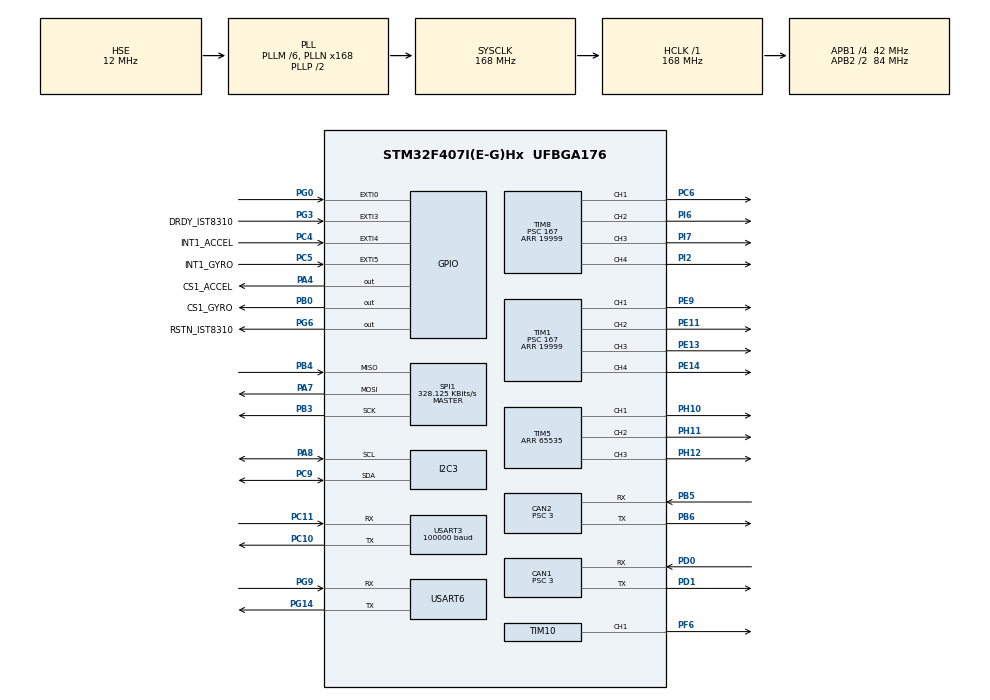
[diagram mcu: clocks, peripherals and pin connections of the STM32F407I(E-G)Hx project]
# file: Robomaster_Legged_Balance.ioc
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CAN1.BS1=CAN_BS1_10TQ
CAN1.BS2=CAN_BS2_3TQ
CAN1.CalculateBaudRate=1000000
CAN1.CalculateTimeBit=1000
CAN1.CalculateTimeQuantum=71.42857142857143
CAN1.Mode=CAN_MODE_NORMAL
CAN1.Prescaler=3
CAN1.RFLM=DISABLE
CAN2.BS1=CAN_BS1_10TQ
CAN2.BS2=CAN_BS2_3TQ
CAN2.CalculateBaudRate=1000000
CAN2.CalculateTimeBit=1000
CAN2.CalculateTimeQuantum=71.42857142857143
CAN2.Prescaler=3
Dma.Request0=USART3_RX
Dma.Request1=SPI1_RX
Dma.Request2=SPI1_TX
Dma.SPI1_RX.1.Direction=DMA_PERIPH_TO_MEMORY
Dma.SPI1_RX.1.FIFOMode=DMA_FIFOMODE_DISABLE
Dma.SPI1_RX.1.Instance=DMA2_Stream2
Dma.SPI1_RX.1.MemDataAlignment=DMA_MDATAALIGN_BYTE
Dma.SPI1_RX.1.MemInc=DMA_MINC_ENABLE
Dma.SPI1_RX.1.Mode=DMA_NORMAL
Dma.SPI1_RX.1.PeriphDataAlignment=DMA_PDATAALIGN_BYTE
Dma.SPI1_RX.1.PeriphInc=DMA_PINC_DISABLE
Dma.SPI1_RX.1.Priority=DMA_PRIORITY_VERY_HIGH
Dma.SPI1_TX.2.Direction=DMA_MEMORY_TO_PERIPH
Dma.SPI1_TX.2.FIFOMode=DMA_FIFOMODE_DISABLE
Dma.SPI1_TX.2.Instance=DMA2_Stream3
Dma.SPI1_TX.2.MemDataAlignment=DMA_MDATAALIGN_BYTE
Dma.SPI1_TX.2.MemInc=DMA_MINC_ENABLE
Dma.SPI1_TX.2.Mode=DMA_NORMAL
Dma.SPI1_TX.2.PeriphDataAlignment=DMA_PDATAALIGN_BYTE
Dma.SPI1_TX.2.PeriphInc=DMA_PINC_DISABLE
Dma.SPI1_TX.2.Priority=DMA_PRIORITY_HIGH
Dma.USART3_RX.0.Direction=DMA_PERIPH_TO_MEMORY
Dma.USART3_RX.0.FIFOMode=DMA_FIFOMODE_DISABLE
Dma.USART3_RX.0.Instance=DMA1_Stream1
Dma.USART3_RX.0.MemDataAlignment=DMA_MDATAALIGN_BYTE
Dma.USART3_RX.0.MemInc=DMA_MINC_ENABLE
Dma.USART3_RX.0.Mode=DMA_CIRCULAR
Dma.USART3_RX.0.PeriphDataAlignment=DMA_PDATAALIGN_BYTE
Dma.USART3_RX.0.PeriphInc=DMA_PINC_DISABLE
Dma.USART3_RX.0.Priority=DMA_PRIORITY_VERY_HIGH
FREERTOS.INCLUDE_eTaskGetState=1
FREERTOS.INCLUDE_pcTaskGetTaskName=1
FREERTOS.INCLUDE_uxTaskGetStackHighWaterMark=1
FREERTOS.INCLUDE_vTaskCleanUpResources=1
FREERTOS.INCLUDE_vTaskDelayUntil=1
FREERTOS.INCLUDE_xEventGroupSetBitFromISR=1
FREERTOS.INCLUDE_xQueueGetMutexHolder=1
FREERTOS.INCLUDE_xSemaphoreGetMutexHolder=1
FREERTOS.INCLUDE_xTaskAbortDelay=1
FREERTOS.INCLUDE_xTaskGetCurrentTaskHandle=1
FREERTOS.INCLUDE_xTaskGetHandle=1
FREERTOS.INCLUDE_xTimerPendFunctionCall=1
FREERTOS.Queues01=can1_tx_queue,32,CAN_Tx_Pack_t,0,Dynamic,NULL,NULL;can1_rx_queue,32,CAN_Tx_Pack_t,0,Dynamic,NULL,NULL
FREERTOS.Tasks01=global_init_tas,0,128,GlobalInit,Default,NULL,Dynamic,NULL,NULL;chassis_task,-3,128,Chassis_Ctrl,As external,NULL,Dynamic,NULL,NULL;can1_tx,2,128,CAN_BSP_CAN1Tx,As external,NULL,Dynamic,NULL,NULL;debug_task,-3,128,Debug_Task,As weak,NULL,Dynamic,NULL,NULL
FREERTOS.configTOTAL_HEAP_SIZE=24576
FREERTOS.configUSE_TIMERS=1
I2C3.I2C_Mode=I2C_Fast
Mcu.Family=STM32F4
Mcu.Name=STM32F407I(E-G)Hx
Mcu.Package=UFBGA176
NVIC.CAN1_RX0_IRQn=true\:5\:0\:false\:false\:true\:true\:true\:true\:true
NVIC.CAN2_RX0_IRQn=true\:5\:0\:false\:false\:true\:true\:true\:true\:true
NVIC.DMA1_Stream1_IRQn=true\:5\:0\:true\:false\:true\:true\:false\:true\:true
NVIC.DMA2_Stream2_IRQn=true\:5\:0\:false\:false\:false\:true\:false\:true\:true
NVIC.DMA2_Stream3_IRQn=true\:5\:0\:false\:false\:false\:true\:false\:true\:true
NVIC.EXTI0_IRQn=true\:6\:0\:true\:false\:true\:true\:true\:true\:true
NVIC.EXTI3_IRQn=true\:5\:0\:false\:false\:true\:true\:true\:true\:true
NVIC.EXTI4_IRQn=true\:5\:0\:false\:false\:true\:true\:true\:true\:true
NVIC.EXTI9_5_IRQn=true\:5\:0\:false\:false\:true\:true\:true\:true\:true
NVIC.PriorityGroup=NVIC_PRIORITYGROUP_4
NVIC.TIM2_IRQn=true\:15\:0\:false\:false\:true\:false\:false\:true\:true
NVIC.TimeBase=TIM2_IRQn
NVIC.TimeBaseIP=TIM2
PA13.Mode=Serial_Wire
PA13.Signal=SYS_JTMS-SWDIO
PA14.Mode=Serial_Wire
PA14.Signal=SYS_JTCK-SWCLK
PA4.GPIO_Label=CS1_ACCEL
PA4.GPIO_PuPd=GPIO_PULLUP
PA4.GPIO_Speed=GPIO_SPEED_FREQ_HIGH
PA4.PinState=GPIO_PIN_SET
PA4.Signal=GPIO_Output
PA7.GPIO_PuPd=GPIO_PULLUP
PA7.Mode=Full_Duplex_Master
PA7.Signal=SPI1_MOSI
PA8.GPIO_Pu=GPIO_PULLUP
PA8.Mode=I2C
PA8.Signal=I2C3_SCL
PB0.GPIO_Label=CS1_GYRO
PB0.GPIO_PuPd=GPIO_PULLUP
PB0.GPIO_Speed=GPIO_SPEED_FREQ_HIGH
PB0.PinState=GPIO_PIN_SET
PB0.Signal=GPIO_Output
PB3.GPIO_PuPd=GPIO_PULLUP
PB3.Mode=Full_Duplex_Master
PB3.Signal=SPI1_SCK
PB4.GPIO_PuPd=GPIO_PULLUP
PB4.Mode=Full_Duplex_Master
PB4.Signal=SPI1_MISO
PB5.Mode=CAN_Activate
PB5.Signal=CAN2_RX
PB6.Mode=CAN_Activate
PB6.Signal=CAN2_TX
PC10.Mode=Asynchronous
PC10.Signal=USART3_TX
PC11.Mode=Asynchronous
PC11.Signal=USART3_RX
PC4.GPIO_Label=INT1_ACCEL
PC4.GPIO_ModeDefaultEXTI=GPIO_MODE_IT_FALLING
PC4.GPIO_PuPd=GPIO_PULLUP
PC4.Signal=GPXTI4
PC5.GPIO_Label=INT1_GYRO
PC5.GPIO_ModeDefaultEXTI=GPIO_MODE_IT_FALLING
PC5.GPIO_PuPd=GPIO_PULLUP
PC5.Signal=GPXTI5
PC6.Signal=S_TIM8_CH1
PC9.GPIO_Pu=GPIO_PULLUP
PC9.Mode=I2C
PC9.Signal=I2C3_SDA
PD0.Mode=CAN_Activate
PD0.Signal=CAN1_RX
PD1.Mode=CAN_Activate
PD1.Signal=CAN1_TX
PE11.Signal=S_TIM1_CH2
PE13.Signal=S_TIM1_CH3
PE14.Signal=S_TIM1_CH4
PE9.Signal=S_TIM1_CH1
PF6.GPIO_PuPd=GPIO_PULLUP
PF6.GPIO_Speed=GPIO_SPEED_FREQ_HIGH
PF6.Signal=S_TIM10_CH1
PG0.GPIO_ModeDefaultEXTI=GPIO_MODE_IT_FALLING
PG0.GPIO_PuPd=GPIO_PULLUP
PG0.Signal=GPXTI0
PG14.Mode=Asynchronous
PG14.Signal=USART6_TX
PG3.GPIO_Label=DRDY_IST8310
PG3.GPIO_ModeDefaultEXTI=GPIO_MODE_IT_FALLING
PG3.GPIO_PuPd=GPIO_PULLUP
PG3.Signal=GPXTI3
PG6.GPIO_Label=RSTN_IST8310
PG6.GPIO_PuPd=GPIO_PULLUP
PG6.GPIO_Speed=GPIO_SPEED_FREQ_MEDIUM
PG6.PinState=GPIO_PIN_SET
PG6.Signal=GPIO_Output
PG9.Mode=Asynchronous
PG9.Signal=USART6_RX
PH0-OSC_IN.Mode=HSE-External-Oscillator
PH0-OSC_IN.Signal=RCC_OSC_IN
PH1-OSC_OUT.Mode=HSE-External-Oscillator
PH1-OSC_OUT.Signal=RCC_OSC_OUT
PH10.GPIO_PuPd=GPIO_PULLUP
PH10.GPIO_Speed=GPIO_SPEED_FREQ_HIGH
PH10.Signal=S_TIM5_CH1
PH11.GPIO_PuPd=GPIO_PULLUP
PH11.GPIO_Speed=GPIO_SPEED_FREQ_HIGH
PH11.Signal=S_TIM5_CH2
PH12.GPIO_PuPd=GPIO_PULLUP
PH12.GPIO_Speed=GPIO_SPEED_FREQ_HIGH
PH12.Signal=S_TIM5_CH3
PI2.Signal=S_TIM8_CH4
PI6.Signal=S_TIM8_CH2
PI7.Signal=S_TIM8_CH3
ProjectManager.HeapSize=0x200
ProjectManager.StackSize=0x400
ProjectManager.TargetToolchain=MDK-ARM V5
RCC.48MHZClocksFreq_Value=84000000
RCC.AHBFreq_Value=168000000
RCC.APB1CLKDivider=RCC_HCLK_DIV4
RCC.APB1Freq_Value=42000000
RCC.APB1TimFreq_Value=84000000
RCC.APB2CLKDivider=RCC_HCLK_DIV2
RCC.APB2Freq_Value=84000000
RCC.APB2TimFreq_Value=168000000
RCC.CortexFreq_Value=168000000
RCC.HCLKFreq_Value=168000000
RCC.HSE_VALUE=12000000
RCC.HSI_VALUE=16000000
RCC.LSE_VALUE=32768
RCC.PLLM=6
RCC.PLLN=168
RCC.PLLSourceVirtual=RCC_PLLSOURCE_HSE
RCC.SYSCLKFreq_VALUE=168000000
RCC.SYSCLKSource=RCC_SYSCLKSOURCE_PLLCLK
RCC.VCOOutputFreq_Value=336000000
SH.S_TIM10_CH1.0=TIM10_CH1,PWM Generation1 CH1
SH.S_TIM1_CH1.0=TIM1_CH1,PWM Generation1 CH1
SH.S_TIM1_CH2.0=TIM1_CH2,PWM Generation2 CH2
SH.S_TIM1_CH3.0=TIM1_CH3,PWM Generation3 CH3
SH.S_TIM1_CH4.0=TIM1_CH4,PWM Generation4 CH4
SH.S_TIM5_CH1.0=TIM5_CH1,PWM Generation1 CH1
SH.S_TIM5_CH2.0=TIM5_CH2,PWM Generation2 CH2
SH.S_TIM5_CH3.0=TIM5_CH3,PWM Generation3 CH3
SH.S_TIM8_CH1.0=TIM8_CH1,PWM Generation1 CH1
SH.S_TIM8_CH2.0=TIM8_CH2,PWM Generation2 CH2
SH.S_TIM8_CH3.0=TIM8_CH3,PWM Generation3 CH3
SH.S_TIM8_CH4.0=TIM8_CH4,PWM Generation4 CH4
SPI1.BaudRatePrescaler=SPI_BAUDRATEPRESCALER_256
SPI1.CLKPhase=SPI_PHASE_2EDGE
SPI1.CLKPolarity=SPI_POLARITY_HIGH
SPI1.CalculateBaudRate=328.125 KBits/s
SPI1.Direction=SPI_DIRECTION_2LINES
SPI1.Mode=SPI_MODE_MASTER
SPI1.VirtualType=VM_MASTER
TIM1.Channel-PWM\ Generation1\ CH1=TIM_CHANNEL_1
TIM1.Channel-PWM\ Generation2\ CH2=TIM_CHANNEL_2
TIM1.Channel-PWM\ Generation3\ CH3=TIM_CHANNEL_3
TIM1.Channel-PWM\ Generation4\ CH4=TIM_CHANNEL_4
TIM1.Period=19999
TIM1.Prescaler=167
TIM10.Channel=TIM_CHANNEL_1
TIM10.Period=4999
TIM5.Channel-PWM\ Generation1\ CH1=TIM_CHANNEL_1
TIM5.Channel-PWM\ Generation2\ CH2=TIM_CHANNEL_2
TIM5.Channel-PWM\ Generation3\ CH3=TIM_CHANNEL_3
TIM5.Period=65535
TIM8.Channel-PWM\ Generation1\ CH1=TIM_CHANNEL_1
TIM8.Channel-PWM\ Generation2\ CH2=TIM_CHANNEL_2
TIM8.Channel-PWM\ Generation3\ CH3=TIM_CHANNEL_3
TIM8.Channel-PWM\ Generation4\ CH4=TIM_CHANNEL_4
TIM8.Period=19999
TIM8.Prescaler=167
USART3.BaudRate=100000
USART3.Mode=MODE_RX
USART3.Parity=PARITY_EVEN
USART3.VirtualMode=VM_ASYNC
USART3.WordLength=WORDLENGTH_9B
USART6.VirtualMode=VM_ASYNC
VP_FREERTOS_VS_CMSIS_V1.Mode=CMSIS_V1
VP_SYS_VS_tim2.Mode=TIM2
VP_TIM10_VS_ClockSourceINT.Mode=Enable_Timer
VP_TIM5_VS_ClockSourceINT.Mode=Internal
board=custom

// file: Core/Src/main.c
/* USER CODE BEGIN Header */
/**
  ******************************************************************************
  * @file           : main.c
  * @brief          : Main program body
  ******************************************************************************
  * @attention
  *
  * Copyright (c) 2023 STMicroelectronics.
  * All rights reserved.
  *
  * This software is licensed under terms that can be found in the LICENSE file
  * in the root directory of this software component.
  * If no LICENSE file comes with this software, it is provided AS-IS.
  *
  ******************************************************************************
  */
/* USER CODE END Header */
#include "main.h"
#include "cmsis_os.h"
#include "can.h"
#include "dma.h"
#include "i2c.h"
#include "spi.h"
#include "tim.h"
#include "usart.h"
#include "gpio.h"

/* USER CODE BEGIN Includes */
#include "global_define.h"
/* USER CODE END Includes */

void SystemClock_Config(void);
void MX_FREERTOS_Init(void);

int main(void)
{

  /* MCU Configuration--------------------------------------------------------*/

  /* Reset of all peripherals, Initializes the Flash interface and the Systick. */
  HAL_Init();

  /* Configure the system clock */
  SystemClock_Config();

  /* Initialize all configured peripherals */
  MX_GPIO_Init();
  MX_DMA_Init();
  MX_USART3_UART_Init();
  MX_TIM1_Init();
  MX_TIM8_Init();
  MX_SPI1_Init();
  MX_TIM10_Init();
  MX_I2C3_Init();
  MX_TIM5_Init();
  MX_CAN1_Init();
  MX_CAN2_Init();
  MX_USART6_UART_Init();

  /* Call init function for freertos objects (in freertos.c) */
  MX_FREERTOS_Init();

  /* Start scheduler */
  osKernelStart();
  /* We should never get here as control is now taken by the scheduler */
  /* Infinite loop */
  while (1)
  {

  }
}

void SystemClock_Config(void)
{
  RCC_OscInitTypeDef RCC_OscInitStruct = {0};
  RCC_ClkInitTypeDef RCC_ClkInitStruct = {0};

  /** Configure the main internal regulator output voltage
  */
  __HAL_RCC_PWR_CLK_ENABLE();
  __HAL_PWR_VOLTAGESCALING_CONFIG(PWR_REGULATOR_VOLTAGE_SCALE1);

  /** Initializes the RCC Oscillators according to the specified parameters
  * in the RCC_OscInitTypeDef structure.
  */
  RCC_OscInitStruct.OscillatorType = RCC_OSCILLATORTYPE_HSE;
  RCC_OscInitStruct.HSEState = RCC_HSE_ON;
  RCC_OscInitStruct.PLL.PLLState = RCC_PLL_ON;
  RCC_OscInitStruct.PLL.PLLSource = RCC_PLLSOURCE_HSE;
  RCC_OscInitStruct.PLL.PLLM = 6;
  RCC_OscInitStruct.PLL.PLLN = 168;
  RCC_OscInitStruct.PLL.PLLP = RCC_PLLP_DIV2;
  RCC_OscInitStruct.PLL.PLLQ = 4;
  if (HAL_RCC_OscConfig(&RCC_OscInitStruct) != HAL_OK)
  {
    Error_Handler();
  }

  /** Initializes the CPU, AHB and APB buses clocks
  */
  RCC_ClkInitStruct.ClockType = RCC_CLOCKTYPE_HCLK|RCC_CLOCKTYPE_SYSCLK
                              |RCC_CLOCKTYPE_PCLK1|RCC_CLOCKTYPE_PCLK2;
  RCC_ClkInitStruct.SYSCLKSource = RCC_SYSCLKSOURCE_PLLCLK;
  RCC_ClkInitStruct.AHBCLKDivider = RCC_SYSCLK_DIV1;
  RCC_ClkInitStruct.APB1CLKDivider = RCC_HCLK_DIV4;
  RCC_ClkInitStruct.APB2CLKDivider = RCC_HCLK_DIV2;

  if (HAL_RCC_ClockConfig(&RCC_ClkInitStruct, FLASH_LATENCY_5) != HAL_OK)
  {
    Error_Handler();
  }
}

void HAL_TIM_PeriodElapsedCallback(TIM_HandleTypeDef *htim)
{
  if (htim->Instance == TIM2) {
    HAL_IncTick();
  }
}

void Error_Handler(void)
{
  __disable_irq();
  while (1)
  {
  }
}

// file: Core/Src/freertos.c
/* USER CODE BEGIN Header */
/**
 ******************************************************************************
 * File Name          : freertos.c
 * Description        : Code for freertos applications
 ******************************************************************************
 * @attention
 *
 * Copyright (c) 2023 STMicroelectronics.
 * All rights reserved.
 *
 * This software is licensed under terms that can be found in the LICENSE file
 * in the root directory of this software component.
 * If no LICENSE file comes with this software, it is provided AS-IS.
 *
 ******************************************************************************
 */
/* USER CODE END Header */

#include "FreeRTOS.h"
#include "task.h"
#include "main.h"
#include "cmsis_os.h"

/* USER CODE BEGIN Includes */
#include "global_define.h"
#include "tim.h"
#include "dma.h"
#include "usart.h"
#include "gpio.h"
#include "remote.h"
#include "bsp_can.h"
#include "imu_task.h"
#include "toe.h"
#include "bsp_serial.h"
#include "chassis.h"
/* USER CODE END Includes */

/* USER CODE BEGIN Variables */
osThreadId imu_TaskHandle;
extern float torq1, torq4;
/* USER CODE END Variables */
osThreadId global_init_tasHandle;
osThreadId chassis_taskHandle;
osThreadId can1_txHandle;
osThreadId debug_taskHandle;
osMessageQId can1_tx_queueHandle;
osMessageQId can1_rx_queueHandle;

/* USER CODE BEGIN FunctionPrototypes */
void Global_Init(void);
/* USER CODE END FunctionPrototypes */

void GlobalInit(void const * argument);
extern void Chassis_Ctrl(void const * argument);
extern void CAN_BSP_CAN1Tx(void const * argument);
void Debug_Task(void const * argument);

void MX_FREERTOS_Init(void); /* (MISRA C 2004 rule 8.1) */

/* GetIdleTaskMemory prototype (linked to static allocation support) */
void vApplicationGetIdleTaskMemory( StaticTask_t **ppxIdleTaskTCBBuffer, StackType_t **ppxIdleTaskStackBuffer, uint32_t *pulIdleTaskStackSize );

/* GetTimerTaskMemory prototype (linked to static allocation support) */
void vApplicationGetTimerTaskMemory( StaticTask_t **ppxTimerTaskTCBBuffer, StackType_t **ppxTimerTaskStackBuffer, uint32_t *pulTimerTaskStackSize );

/* USER CODE BEGIN GET_IDLE_TASK_MEMORY */
static StaticTask_t xIdleTaskTCBBuffer;
static StackType_t xIdleStack[configMINIMAL_STACK_SIZE];

void vApplicationGetIdleTaskMemory(StaticTask_t **ppxIdleTaskTCBBuffer, StackType_t **ppxIdleTaskStackBuffer, uint32_t *pulIdleTaskStackSize)
{
  *ppxIdleTaskTCBBuffer = &xIdleTaskTCBBuffer;
  *ppxIdleTaskStackBuffer = &xIdleStack[0];
  *pulIdleTaskStackSize = configMINIMAL_STACK_SIZE;
  /* place for user code */
}
/* USER CODE END GET_IDLE_TASK_MEMORY */

/* USER CODE BEGIN GET_TIMER_TASK_MEMORY */
static StaticTask_t xTimerTaskTCBBuffer;
static StackType_t xTimerStack[configTIMER_TASK_STACK_DEPTH];

void vApplicationGetTimerTaskMemory(StaticTask_t **ppxTimerTaskTCBBuffer, StackType_t **ppxTimerTaskStackBuffer, uint32_t *pulTimerTaskStackSize)
{
  *ppxTimerTaskTCBBuffer = &xTimerTaskTCBBuffer;
  *ppxTimerTaskStackBuffer = &xTimerStack[0];
  *pulTimerTaskStackSize = configTIMER_TASK_STACK_DEPTH;
  /* place for user code */
}
/* USER CODE END GET_TIMER_TASK_MEMORY */

void MX_FREERTOS_Init(void) {

  /* Create the queue(s) */
  /* definition and creation of can1_tx_queue */
  osMessageQDef(can1_tx_queue, 32, CAN_Tx_Pack_t);
  can1_tx_queueHandle = osMessageCreate(osMessageQ(can1_tx_queue), NULL);

  /* definition and creation of can1_rx_queue */
  osMessageQDef(can1_rx_queue, 32, CAN_Tx_Pack_t);
  can1_rx_queueHandle = osMessageCreate(osMessageQ(can1_rx_queue), NULL);

  /* Create the thread(s) */
  /* definition and creation of global_init_tas */
  osThreadDef(global_init_tas, GlobalInit, osPriorityNormal, 0, 128);
  global_init_tasHandle = osThreadCreate(osThread(global_init_tas), NULL);

  /* definition and creation of chassis_task */
  osThreadDef(chassis_task, Chassis_Ctrl, osPriorityNormal, 0, 4096);
  chassis_taskHandle = osThreadCreate(osThread(chassis_task), NULL);

  /* definition and creation of can1_tx */
  osThreadDef(can1_tx, CAN_BSP_CAN1Tx, osPriorityHigh, 0, 128);
  can1_txHandle = osThreadCreate(osThread(can1_tx), NULL);

  /* definition and creation of debug_task */
  osThreadDef(debug_task, Debug_Task, osPriorityLow, 0, 256);
  debug_taskHandle = osThreadCreate(osThread(debug_task), NULL);

  /* USER CODE BEGIN RTOS_THREADS */

  osThreadDef(imu_task, IMU_Task, osPriorityHigh, 0, 128);
  imu_TaskHandle = osThreadCreate(osThread(imu_task), NULL);
  /* USER CODE END RTOS_THREADS */

}

void GlobalInit(void const * argument)
{
  /* USER CODE BEGIN GlobalInit */
/* Infinite loop */
#ifdef LED_ENABLED
#endif

#ifdef REMOTE_ENABLED
  RemoteInit();
#endif

#ifdef CAN_ENABLED
  CAN_BSP_Init(&hcan1);
  CAN_BSP_Init(&hcan2);
#endif

#ifdef PWM_ENABLED
  HAL_TIM_Base_Start(&htim1);
  HAL_TIM_PWM_Start(&htim1, TIM_CHANNEL_1);
  HAL_TIM_PWM_Start(&htim1, TIM_CHANNEL_2);
  HAL_TIM_PWM_Start(&htim1, TIM_CHANNEL_3);
  HAL_TIM_PWM_Start(&htim1, TIM_CHANNEL_4);

  HAL_TIM_Base_Start(&htim8);
  HAL_TIM_PWM_Start(&htim8, TIM_CHANNEL_1);
  HAL_TIM_PWM_Start(&htim8, TIM_CHANNEL_2);
  HAL_TIM_PWM_Start(&htim8, TIM_CHANNEL_3);
#endif
  vTaskDelete(NULL);
  /* USER CODE END GlobalInit */
}

__weak void Debug_Task(void const * argument)
{
  /* USER CODE BEGIN Debug_Task */
  /* Infinite loop */
  portTickType xLastWakeTime;
  xLastWakeTime = xTaskGetTickCount();
  const TickType_t TimeIncrement = pdMS_TO_TICKS(10);
  while (1)
  {
    printf(
      "x=%f,x_dot=%f,theta=%f,theta_dot=%f,phi=%f,phi_dot=%f,left1=%f,left_2=%f\r\n",
      g_chassis.right_leg.current_disp,g_chassis.right_leg.current_vel,
      g_chassis.right_leg.current_theta, g_chassis.right_leg.current_theta_dot,
      g_chassis.current_pitch, g_chassis.current_pitch_dot,
      torq1,torq4);
    vTaskDelayUntil(&xLastWakeTime, TimeIncrement);
  }
  /* USER CODE END Debug_Task */
}
